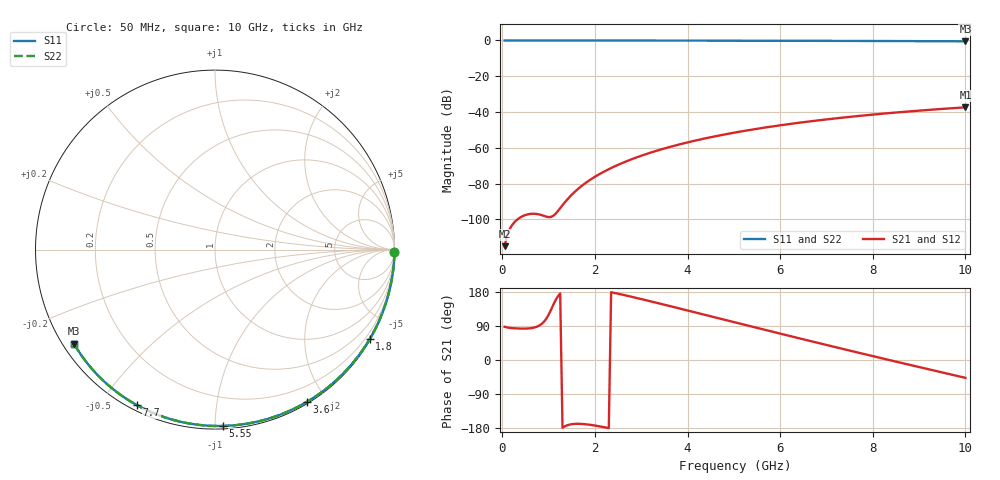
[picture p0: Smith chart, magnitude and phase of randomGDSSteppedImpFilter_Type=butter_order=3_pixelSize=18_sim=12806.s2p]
! freq	dB(S11)	phase(S11)	dB(S12)	phase(S12)
!  dB(S21)	phase(S21)	dB(S22)	phase(S22)
!S-par simulation data
#  GHz  S  DB  R 50
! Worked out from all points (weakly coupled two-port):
!   200 points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, 50 MHz to 10 GHz, reference 50 ohm
!   highest |S21| = -37.35 dB at 10 GHz (marker M1); lowest = -114.9 dB at 50 MHz (marker M2)
!   lowest |S11| = -0.5 dB at 10 GHz (marker M3), VSWR 35.19, Z = 1.55 - j15.1 ohm
!   |S11| at or under -10 dB: nowhere
!   |S22| runs from -0.5 to 0.0 dB; largest |S21 - S12| = 0
!   S11 on the Smith chart (normalised r, x): 50 MHz: open; 1.8 GHz: 0.03, -3.71; 3.6 GHz: 0.02, -1.78; 5.55 GHz: 0.02, -1.04; 7.7 GHz: 0.02, -0.62; 10 GHz: 0.03, -0.30
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0.05  -0.00 -0.9  -114.92 87.7  -114.92 87.7  -0.00 -0.9
0.45  -0.01 -7.7  -98.03 82.8  -98.03 82.8  -0.01 -7.7
0.9  -0.02 -15.2  -98.01 101.0  -98.01 101.0  -0.02 -15.2
1.3  -0.03 -21.9  -92.02 -178.9  -92.02 -178.9  -0.03 -21.9
1.75  -0.04 -29.3  -80.53 -169.1  -80.53 -169.1  -0.04 -29.3
1.8  -0.04 -30.1  -79.57 -169.6  -79.57 -169.6  -0.04 -30.1
1.95  -0.04 -32.6  -76.95 -172.0  -76.95 -172.0  -0.04 -32.6
2.1  -0.04 -35.0  -74.64 -175.1  -74.64 -175.1  -0.04 -35.0
2.3  -0.05 -38.3  -71.89 -179.8  -71.89 -179.8  -0.05 -38.3
2.5  -0.05 -41.5  -69.47 175.0  -69.47 175.0  -0.05 -41.5
2.9  -0.06 -47.9  -65.32 163.7  -65.32 163.7  -0.06 -47.9
3.4  -0.07 -55.7  -61.08 148.9  -61.08 148.9  -0.07 -55.7
3.6  -0.08 -58.8  -59.60 142.9  -59.60 142.9  -0.08 -58.8
4.3  -0.10 -69.4  -55.15 121.5  -55.15 121.5  -0.10 -69.4
5.05  -0.12 -80.4  -51.31 98.5  -51.31 98.5  -0.12 -80.3
5.55  -0.14 -87.5  -49.14 83.3  -49.14 83.3  -0.14 -87.5
6.1  -0.17 -95.2  -47.04 66.6  -47.04 66.6  -0.17 -95.2
6.7  -0.20 -103.4  -45.02 48.6  -45.02 48.6  -0.20 -103.3
7.7  -0.27 -116.6  -42.17 19.0  -42.17 19.0  -0.27 -116.6
8.35  -0.32 -125.1  -40.59 0.1  -40.59 0.1  -0.32 -125.1
9.2  -0.40 -136.0  -38.80 -24.3  -38.80 -24.3  -0.40 -136.0
10  -0.49 -146.3  -37.35 -47.1  -37.35 -47.1  -0.49 -146.3
